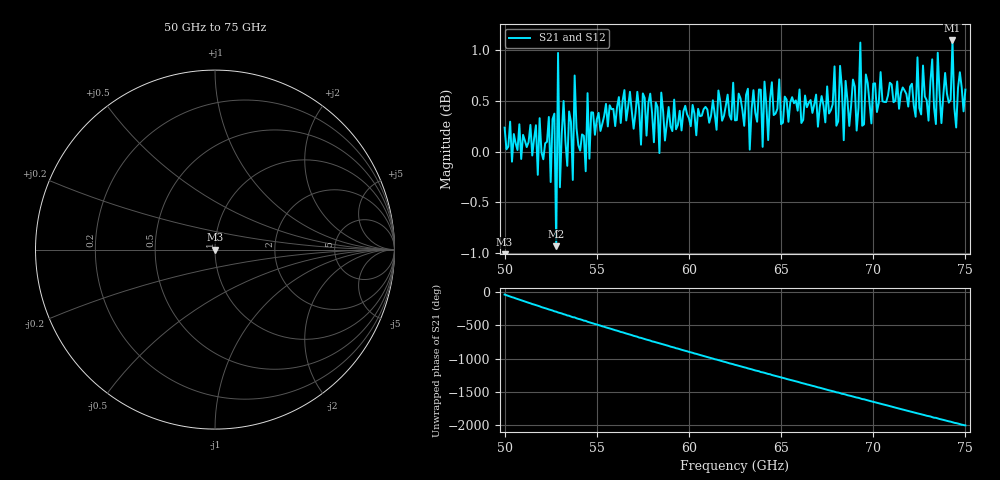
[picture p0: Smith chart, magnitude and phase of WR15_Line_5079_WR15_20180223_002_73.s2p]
# GHZ S RI R 50
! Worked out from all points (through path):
!   251 points, 50 GHz to 75 GHz, reference 50 ohm
!   highest |S21| = 1.10 dB at 74.3 GHz (marker M1); lowest = -0.9 dB at 52.8 GHz (marker M2)
!   lowest |S11| = - dB at 50 GHz (marker M3), VSWR 1.00, Z = 50 + j1.12e-15 ohm
!   |S11| at or under -10 dB: start of sweep to end of sweep
!   |S22| runs from - to - dB; largest |S21 - S12| = 1e-14
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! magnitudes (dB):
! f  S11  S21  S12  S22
! 50 GHz  -  0.2  0.2  -
! 52.4 GHz  -  0.3  0.3  -
! 52.5 GHz  -  -0.3  -0.3  -
! 52.7 GHz  -  0.4  0.4  -
! 52.8 GHz  -  -0.9  -0.9  -
! 52.9 GHz  -  1.0  1.0  -
! 53 GHz  -  -0.4  -0.4  -
! 53.2 GHz  -  0.5  0.5  -
! 53.7 GHz  -  -0.3  -0.3  -
! 53.8 GHz  -  0.8  0.8  -
! 54.2 GHz  -  0.2  0.2  -
! 58.4 GHz  -  0.0  0.0  -
! 62.5 GHz  -  0.3  0.3  -
! 66.7 GHz  -  0.4  0.4  -
! 70.9 GHz  -  0.7  0.7  -
! 73.2 GHz  -  0.9  0.9  -
! 73.4 GHz  -  0.3  0.3  -
! 73.5 GHz  -  1.0  1.0  -
! 73.7 GHz  -  0.3  0.3  -
! 74.3 GHz  -  1.1  1.1  -
! 74.5 GHz  -  0.2  0.2  -
! 75 GHz  -  0.6  0.6  -
